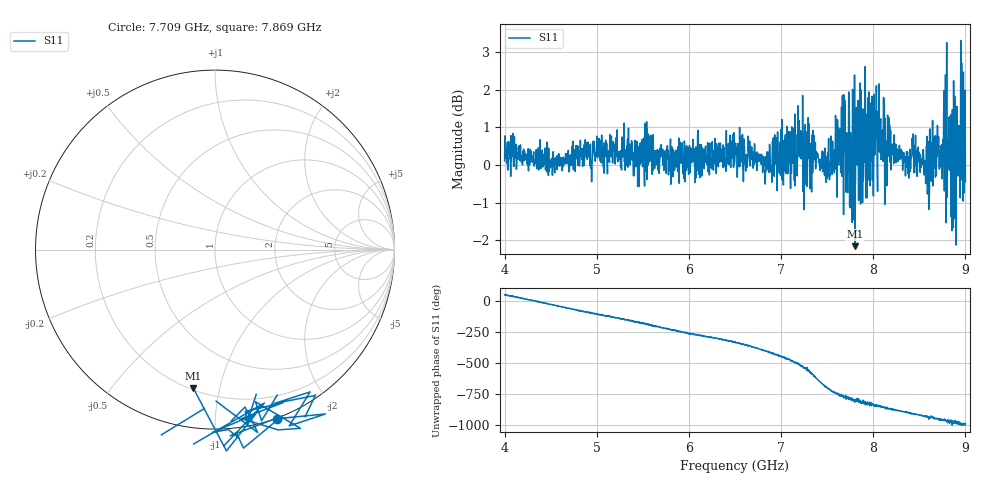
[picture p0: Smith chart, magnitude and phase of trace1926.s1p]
! Created with skrf 1.8.0 (http://scikit-rf.org).
# Hz S RI R 50.0
!freq ReS11 ImS11
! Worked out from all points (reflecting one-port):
!   1601 points, 4 GHz to 9 GHz, reference 50 ohm
!   lowest |S11| = -2.2 dB at 7.8 GHz (marker M1), VSWR 8.10, Z = 10.6 - j41.6 ohm
!   phase of S11 starts at 51 deg and turns -1048 deg over the sweep
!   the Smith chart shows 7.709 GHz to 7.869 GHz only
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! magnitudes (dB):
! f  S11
! 4 GHz  0.1
! 4.625 GHz  -0.2
! 5.022 GHz  0.3
! 5.25 GHz  0.1
! 5.875 GHz  0.2
! 6.5 GHz  0.3
! 6.825 GHz  0.2
! 7.125 GHz  0.3
! 7.209 GHz  0.6
! 7.262 GHz  1.1
! 7.284 GHz  0.4
! 7.506 GHz  0.3
! 7.675 GHz  0.9
! 7.75 GHz  -1.1
! 7.769 GHz  -0.2
! 7.8 GHz  -2.2
! 7.844 GHz  0.8
! 7.881 GHz  0.7
! 8.047 GHz  -0.7
! 8.375 GHz  0.1
! 8.441 GHz  -0.2
! 8.584 GHz  0.8
! 8.775 GHz  1.2
! 8.875 GHz  1.0
! 8.884 GHz  1.8
! 8.919 GHz  -0.3
! 8.972 GHz  0.8
! 9 GHz  -0.4
